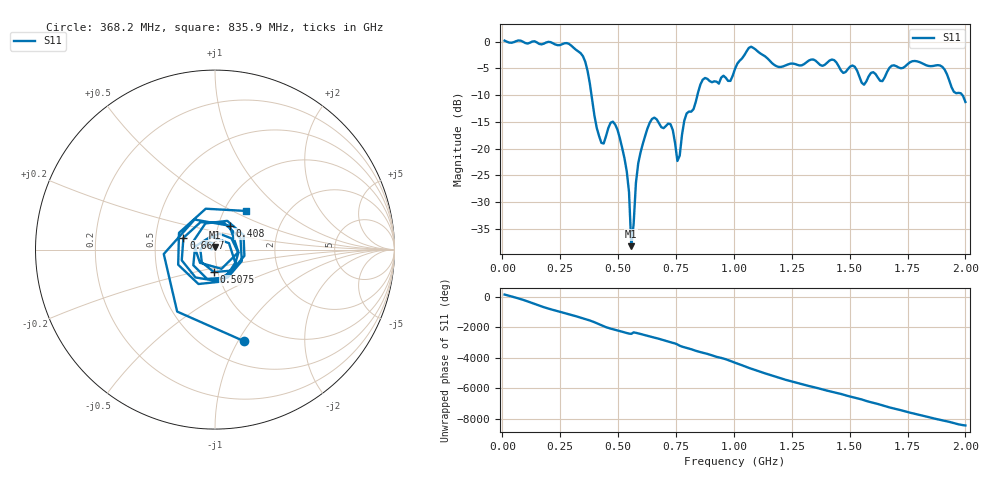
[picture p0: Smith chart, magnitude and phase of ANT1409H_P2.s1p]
!Created with skrf (http://scikit-rf.org).
# Hz S RI R 50.0
!freq ReS11 ImS11
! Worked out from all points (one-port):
!   201 points, 10 MHz to 2 GHz, reference 50 ohm
!   lowest |S11| = -38.2 dB at 557.2 MHz (marker M1), VSWR 1.02, Z = 50.2 + j1.21 ohm
!   |S11| at or under -10 dB: 385.3 MHz to 842.7 MHz (457.5 MHz wide, 74.5 % of centre); 1.987 GHz to end of sweep
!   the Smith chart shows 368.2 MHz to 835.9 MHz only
!   S11 on the Smith chart (normalised r, x): 368.2 MHz: 0.74, -1.05; 408 MHz: 1.13, +0.31; 507.5 MHz: 0.96, -0.24; 666.7 MHz: 0.70, +0.09; 835.9 MHz: 1.26, +0.59
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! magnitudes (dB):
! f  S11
! 10 MHz  0.2
! 258.8 MHz  -0.5
! 338.4 MHz  -2.2
! 368.2 MHz  -5.5
! 408 MHz  -16.1
! 437.9 MHz  -19.1
! 477.6 MHz  -15.0
! 507.5 MHz  -18.0
! 547.3 MHz  -28.1
! 557.2 MHz  -38.2
! 587.1 MHz  -22.8
! 636.9 MHz  -15.2
! 666.7 MHz  -14.5
! 726.4 MHz  -15.4
! 756.2 MHz  -22.3
! 786.1 MHz  -14.8
! 835.9 MHz  -11.2
! 865.7 MHz  -7.1
! 985.1 MHz  -7.4
! 1.005 GHz  -5.1
! 1.075 GHz  -1.0
! 1.184 GHz  -4.6
! 1.254 GHz  -4.1
! 1.502 GHz  -4.7
! 1.562 GHz  -8.1
! 1.751 GHz  -4.2
! 1.901 GHz  -4.7
! 2 GHz  -11.3
